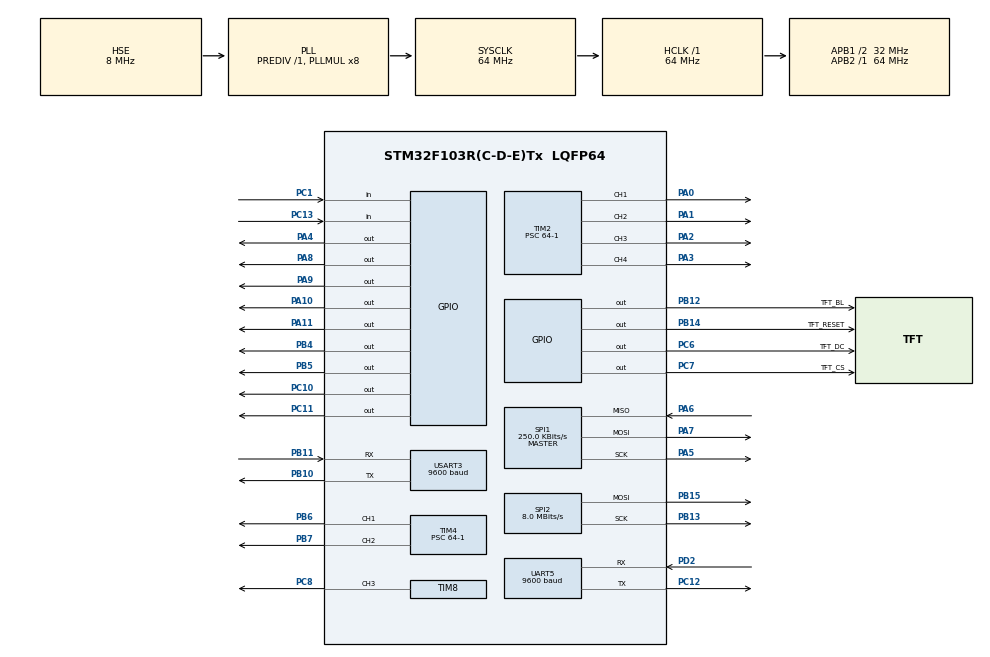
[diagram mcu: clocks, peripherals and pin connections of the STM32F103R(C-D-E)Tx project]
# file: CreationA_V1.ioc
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Dma.Request0=USART3_RX
Dma.Request1=SPI2_TX
Dma.SPI2_TX.1.Direction=DMA_MEMORY_TO_PERIPH
Dma.SPI2_TX.1.Instance=DMA1_Channel5
Dma.SPI2_TX.1.MemDataAlignment=DMA_MDATAALIGN_BYTE
Dma.SPI2_TX.1.MemInc=DMA_MINC_ENABLE
Dma.SPI2_TX.1.Mode=DMA_NORMAL
Dma.SPI2_TX.1.PeriphDataAlignment=DMA_PDATAALIGN_BYTE
Dma.SPI2_TX.1.PeriphInc=DMA_PINC_DISABLE
Dma.SPI2_TX.1.Priority=DMA_PRIORITY_LOW
Dma.USART3_RX.0.Direction=DMA_PERIPH_TO_MEMORY
Dma.USART3_RX.0.Instance=DMA1_Channel3
Dma.USART3_RX.0.MemDataAlignment=DMA_MDATAALIGN_BYTE
Dma.USART3_RX.0.MemInc=DMA_MINC_ENABLE
Dma.USART3_RX.0.Mode=DMA_NORMAL
Dma.USART3_RX.0.PeriphDataAlignment=DMA_PDATAALIGN_BYTE
Dma.USART3_RX.0.PeriphInc=DMA_PINC_DISABLE
Dma.USART3_RX.0.Priority=DMA_PRIORITY_LOW
FREERTOS.Tasks01=defaultTask,0,128,StartDefaultTask,Default,NULL,Dynamic,NULL,NULL;Image_Task,0,128,StartImageTask,Default,NULL,Dynamic,NULL,NULL;PS2_Recv_Task,0,128,StartPS2Task,Default,NULL,Dynamic,NULL,NULL;MotorServo_Task,0,128,StartMotorServoTask,Default,NULL,Dynamic,NULL,NULL
FREERTOS.configTIMER_TASK_PRIORITY=3
Mcu.Family=STM32F1
Mcu.Name=STM32F103R(C-D-E)Tx
Mcu.Package=LQFP64
NVIC.DMA1_Channel3_IRQn=true\:5\:0\:false\:false\:true\:true\:false\:true\:true
NVIC.DMA1_Channel5_IRQn=true\:5\:0\:false\:false\:true\:true\:false\:true\:true
NVIC.PriorityGroup=NVIC_PRIORITYGROUP_4
NVIC.TIM6_IRQn=true\:15\:0\:false\:false\:true\:false\:false\:true\:true
NVIC.TimeBase=TIM6_IRQn
NVIC.TimeBaseIP=TIM6
PA0-WKUP.Signal=S_TIM2_CH1_ETR
PA1.Signal=S_TIM2_CH2
PA10.Signal=GPIO_Output
PA11.GPIO_PuPd=GPIO_PULLDOWN
PA11.Signal=GPIO_Output
PA13.Mode=JTAG_4_pins
PA13.Signal=SYS_JTMS-SWDIO
PA14.Mode=JTAG_4_pins
PA14.Signal=SYS_JTCK-SWCLK
PA15.Mode=JTAG_4_pins
PA15.Signal=SYS_JTDI
PA2.Signal=S_TIM2_CH3
PA3.Signal=S_TIM2_CH4
PA4.GPIO_PuPd=GPIO_PULLUP
PA4.GPIO_Speed=GPIO_SPEED_FREQ_HIGH
PA4.PinState=GPIO_PIN_SET
PA4.Signal=GPIO_Output
PA5.Mode=Full_Duplex_Master
PA5.Signal=SPI1_SCK
PA6.Mode=Full_Duplex_Master
PA6.Signal=SPI1_MISO
PA7.Mode=Full_Duplex_Master
PA7.Signal=SPI1_MOSI
PA8.GPIO_PuPd=GPIO_PULLDOWN
PA8.Signal=GPIO_Output
PA9.GPIO_PuPd=GPIO_PULLDOWN
PA9.Signal=GPIO_Output
PB10.Mode=Asynchronous
PB10.Signal=USART3_TX
PB11.Mode=Asynchronous
PB11.Signal=USART3_RX
PB12.GPIO_Label=TFT_BL
PB12.GPIO_PuPd=GPIO_PULLUP
PB12.Signal=GPIO_Output
PB13.Mode=TX_Only_Simplex_Unidirect_Master
PB13.Signal=SPI2_SCK
PB14.GPIO_Label=TFT_RESET
PB14.GPIO_PuPd=GPIO_PULLUP
PB14.Signal=GPIO_Output
PB15.Mode=TX_Only_Simplex_Unidirect_Master
PB15.Signal=SPI2_MOSI
PB3.Mode=JTAG_4_pins
PB3.Signal=SYS_JTDO-TRACESWO
PB4.GPIO_PuPd=GPIO_PULLDOWN
PB4.Signal=GPIO_Output
PB5.GPIO_PuPd=GPIO_PULLDOWN
PB5.Signal=GPIO_Output
PB6.Signal=S_TIM4_CH1
PB7.Signal=S_TIM4_CH2
PC1.GPIO_PuPd=GPIO_PULLUP
PC1.Signal=GPIO_Input
PC10.GPIO_PuPd=GPIO_PULLDOWN
PC10.Signal=GPIO_Output
PC11.GPIO_PuPd=GPIO_PULLDOWN
PC11.Signal=GPIO_Output
PC12.Mode=Asynchronous
PC12.Signal=UART5_TX
PC13-TAMPER-RTC.Signal=GPIO_Input
PC14-OSC32_IN.Mode=LSE-External-Oscillator
PC14-OSC32_IN.Signal=RCC_OSC32_IN
PC15-OSC32_OUT.Mode=LSE-External-Oscillator
PC15-OSC32_OUT.Signal=RCC_OSC32_OUT
PC6.GPIO_Label=TFT_DC
PC6.GPIO_PuPd=GPIO_PULLDOWN
PC6.Signal=GPIO_Output
PC7.GPIO_Label=TFT_CS
PC7.GPIO_PuPd=GPIO_PULLDOWN
PC7.Signal=GPIO_Output
PC8.Signal=S_TIM8_CH3
PD0-OSC_IN.Mode=HSE-External-Oscillator
PD0-OSC_IN.Signal=RCC_OSC_IN
PD1-OSC_OUT.Mode=HSE-External-Oscillator
PD1-OSC_OUT.Signal=RCC_OSC_OUT
PD2.Mode=Asynchronous
PD2.Signal=UART5_RX
ProjectManager.HeapSize=0x200
ProjectManager.StackSize=0x400
ProjectManager.TargetToolchain=Makefile
RCC.AHBFreq_Value=64000000
RCC.APB1CLKDivider=RCC_HCLK_DIV2
RCC.APB1Freq_Value=32000000
RCC.APB1TimFreq_Value=64000000
RCC.APB2Freq_Value=64000000
RCC.APB2TimFreq_Value=64000000
RCC.HCLKFreq_Value=64000000
RCC.PLLMUL=RCC_PLL_MUL8
RCC.PLLSourceVirtual=RCC_PLLSOURCE_HSE
RCC.SYSCLKFreq_VALUE=64000000
RCC.SYSCLKSource=RCC_SYSCLKSOURCE_PLLCLK
RCC.USBFreq_Value=64000000
SH.S_TIM2_CH1_ETR.0=TIM2_CH1,PWM Generation1 CH1
SH.S_TIM2_CH2.0=TIM2_CH2,PWM Generation2 CH2
SH.S_TIM2_CH3.0=TIM2_CH3,PWM Generation3 CH3
SH.S_TIM2_CH4.0=TIM2_CH4,PWM Generation4 CH4
SH.S_TIM4_CH1.0=TIM4_CH1,PWM Generation1 CH1
SH.S_TIM4_CH2.0=TIM4_CH2,PWM Generation2 CH2
SH.S_TIM8_CH3.0=TIM8_CH3,PWM Generation3 CH3
SPI1.BaudRatePrescaler=SPI_BAUDRATEPRESCALER_256
SPI1.CLKPolarity=SPI_POLARITY_HIGH
SPI1.CRCCalculation=SPI_CRCCALCULATION_DISABLE
SPI1.CalculateBaudRate=250.0 KBits/s
SPI1.Direction=SPI_DIRECTION_2LINES
SPI1.FirstBit=SPI_FIRSTBIT_LSB
SPI1.Mode=SPI_MODE_MASTER
SPI1.VirtualType=VM_MASTER
SPI2.BaudRatePrescaler=SPI_BAUDRATEPRESCALER_4
SPI2.CLKPhase=SPI_PHASE_1EDGE
SPI2.CLKPolarity=SPI_POLARITY_LOW
SPI2.CRCCalculation=SPI_CRCCALCULATION_DISABLE
SPI2.CalculateBaudRate=8.0 MBits/s
SPI2.Direction=SPI_DIRECTION_2LINES
SPI2.Mode=SPI_MODE_MASTER
SPI2.VirtualType=VM_MASTER
TIM2.Channel-PWM\ Generation1\ CH1=TIM_CHANNEL_1
TIM2.Channel-PWM\ Generation2\ CH2=TIM_CHANNEL_2
TIM2.Channel-PWM\ Generation3\ CH3=TIM_CHANNEL_3
TIM2.Channel-PWM\ Generation4\ CH4=TIM_CHANNEL_4
TIM2.Prescaler=64-1
TIM4.Channel-PWM\ Generation1\ CH1=TIM_CHANNEL_1
TIM4.Channel-PWM\ Generation2\ CH2=TIM_CHANNEL_2
TIM4.Period=20000-1
TIM4.Prescaler=64-1
TIM5.Prescaler=64-1
TIM8.Channel-PWM\ Generation3\ CH3=TIM_CHANNEL_3
TIM8.Prescaler=64-1
UART5.BaudRate=9600
UART5.Mode=MODE_TX_RX
UART5.VirtualMode=Asynchronous
USART3.BaudRate=9600
USART3.VirtualMode=VM_ASYNC
VP_FREERTOS_VS_CMSIS_V1.Mode=CMSIS_V1
VP_SYS_VS_tim6.Mode=TIM6
VP_TIM2_VS_ClockSourceINT.Mode=Internal
VP_TIM4_VS_ClockSourceINT.Mode=Internal
VP_TIM5_VS_ClockSourceINT.Mode=Internal
VP_TIM8_VS_ClockSourceINT.Mode=Internal
board=custom

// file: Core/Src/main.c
/* USER CODE BEGIN Header */
/**
  ******************************************************************************
  * @file           : main.c
  * @brief          : Main program body
  ******************************************************************************
  * @attention
  *
  * Copyright (c) 2022 STMicroelectronics.
  * All rights reserved.
  *
  * This software is licensed under terms that can be found in the LICENSE file
  * in the root directory of this software component.
  * If no LICENSE file comes with this software, it is provided AS-IS.
  *
  ******************************************************************************
  */
/* USER CODE END Header */
#include "main.h"
#include "cmsis_os.h"
#include "dma.h"
#include "spi.h"
#include "tim.h"
#include "usart.h"
#include "gpio.h"

void SystemClock_Config(void);
void MX_FREERTOS_Init(void);

int main(void)
{

  /* MCU Configuration--------------------------------------------------------*/

  /* Reset of all peripherals, Initializes the Flash interface and the Systick. */
  HAL_Init();

  /* Configure the system clock */
  SystemClock_Config();

  /* Initialize all configured peripherals */
  MX_GPIO_Init();
  MX_DMA_Init();
  MX_TIM4_Init();
  MX_SPI1_Init();
  MX_TIM5_Init();
  MX_TIM2_Init();
  MX_TIM8_Init();
  MX_SPI2_Init();
  MX_UART5_Init();
  MX_USART3_UART_Init();

  /* Call init function for freertos objects (in freertos.c) */
  MX_FREERTOS_Init();
  /* Start scheduler */
  osKernelStart();

  /* We should never get here as control is now taken by the scheduler */
  /* Infinite loop */
  while (1)
  {

  }
}

void SystemClock_Config(void)
{
  RCC_OscInitTypeDef RCC_OscInitStruct = {0};
  RCC_ClkInitTypeDef RCC_ClkInitStruct = {0};

  /** Initializes the RCC Oscillators according to the specified parameters
  * in the RCC_OscInitTypeDef structure.
  */
  RCC_OscInitStruct.OscillatorType = RCC_OSCILLATORTYPE_HSE;
  RCC_OscInitStruct.HSEState = RCC_HSE_ON;
  RCC_OscInitStruct.HSEPredivValue = RCC_HSE_PREDIV_DIV1;
  RCC_OscInitStruct.HSIState = RCC_HSI_ON;
  RCC_OscInitStruct.PLL.PLLState = RCC_PLL_ON;
  RCC_OscInitStruct.PLL.PLLSource = RCC_PLLSOURCE_HSE;
  RCC_OscInitStruct.PLL.PLLMUL = RCC_PLL_MUL8;
  if (HAL_RCC_OscConfig(&RCC_OscInitStruct) != HAL_OK)
  {
    Error_Handler();
  }
  /** Initializes the CPU, AHB and APB buses clocks
  */
  RCC_ClkInitStruct.ClockType = RCC_CLOCKTYPE_HCLK|RCC_CLOCKTYPE_SYSCLK
                              |RCC_CLOCKTYPE_PCLK1|RCC_CLOCKTYPE_PCLK2;
  RCC_ClkInitStruct.SYSCLKSource = RCC_SYSCLKSOURCE_PLLCLK;
  RCC_ClkInitStruct.AHBCLKDivider = RCC_SYSCLK_DIV1;
  RCC_ClkInitStruct.APB1CLKDivider = RCC_HCLK_DIV2;
  RCC_ClkInitStruct.APB2CLKDivider = RCC_HCLK_DIV1;

  if (HAL_RCC_ClockConfig(&RCC_ClkInitStruct, FLASH_LATENCY_2) != HAL_OK)
  {
    Error_Handler();
  }
}

void HAL_TIM_PeriodElapsedCallback(TIM_HandleTypeDef *htim)
{
  if (htim->Instance == TIM6) {
    HAL_IncTick();
  }
}

void Error_Handler(void)
{
  __disable_irq();
  while (1)
  {
  }
}

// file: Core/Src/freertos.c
/* USER CODE BEGIN Header */
/**
  ******************************************************************************
  * File Name          : freertos.c
  * Description        : Code for freertos applications
  ******************************************************************************
  * @attention
  *
  * Copyright (c) 2022 STMicroelectronics.
  * All rights reserved.
  *
  * This software is licensed under terms that can be found in the LICENSE file
  * in the root directory of this software component.
  * If no LICENSE file comes with this software, it is provided AS-IS.
  *
  ******************************************************************************
  */
/* USER CODE END Header */

#include "FreeRTOS.h"
#include "task.h"
#include "main.h"
#include "cmsis_os.h"

/* USER CODE BEGIN Includes */
#include "tim.h"
#include "spi.h"
#include "ps2.h"
#include "motor.h"
#include "beep.h"
#include "tft.h"
#include "malloc.h"
#include "usart.h"
/* USER CODE END Includes */

/* USER CODE BEGIN PD */
#define MV_LEN 7
/* USER CODE END PD */

/* USER CODE BEGIN Variables */
uint8_t ps2_rx[9] = {0};
uint8_t mv_rx[MV_LEN] = {0};

motor* motor_lf = NULL;
motor* motor_lb = NULL;
motor* motor_rf = NULL;
motor* motor_rb = NULL;

robot_state state;
/* USER CODE END Variables */
osThreadId defaultTaskHandle;
osThreadId Image_TaskHandle;
osThreadId PS2_Recv_TaskHandle;
osThreadId MotorServo_TaskHandle;

void StartDefaultTask(void const * argument);
void StartImageTask(void const * argument);
void StartPS2Task(void const * argument);
void StartMotorServoTask(void const * argument);

void MX_FREERTOS_Init(void); /* (MISRA C 2004 rule 8.1) */

/* GetIdleTaskMemory prototype (linked to static allocation support) */
void vApplicationGetIdleTaskMemory( StaticTask_t **ppxIdleTaskTCBBuffer, StackType_t **ppxIdleTaskStackBuffer, uint32_t *pulIdleTaskStackSize );

/* USER CODE BEGIN GET_IDLE_TASK_MEMORY */
static StaticTask_t xIdleTaskTCBBuffer;
static StackType_t xIdleStack[configMINIMAL_STACK_SIZE];

void vApplicationGetIdleTaskMemory( StaticTask_t **ppxIdleTaskTCBBuffer, StackType_t **ppxIdleTaskStackBuffer, uint32_t *pulIdleTaskStackSize )
{
  *ppxIdleTaskTCBBuffer = &xIdleTaskTCBBuffer;
  *ppxIdleTaskStackBuffer = &xIdleStack[0];
  *pulIdleTaskStackSize = configMINIMAL_STACK_SIZE;
  /* place for user code */
}
/* USER CODE END GET_IDLE_TASK_MEMORY */

void MX_FREERTOS_Init(void) {

  /* Create the thread(s) */
  /* definition and creation of defaultTask */
  osThreadDef(defaultTask, StartDefaultTask, osPriorityNormal, 0, 128);
  defaultTaskHandle = osThreadCreate(osThread(defaultTask), NULL);

  /* definition and creation of Image_Task */
  osThreadDef(Image_Task, StartImageTask, osPriorityNormal, 0, 128);
  Image_TaskHandle = osThreadCreate(osThread(Image_Task), NULL);

  /* definition and creation of PS2_Recv_Task */
  osThreadDef(PS2_Recv_Task, StartPS2Task, osPriorityNormal, 0, 128);
  PS2_Recv_TaskHandle = osThreadCreate(osThread(PS2_Recv_Task), NULL);

  /* definition and creation of MotorServo_Task */
  osThreadDef(MotorServo_Task, StartMotorServoTask, osPriorityNormal, 0, 128);
  MotorServo_TaskHandle = osThreadCreate(osThread(MotorServo_Task), NULL);

}

void StartDefaultTask(void const * argument)
{
  /* USER CODE BEGIN StartDefaultTask */
  HAL_TIM_Base_Start(&htim5);   //delay_us
  HAL_TIM_PWM_Start(&htim8, TIM_CHANNEL_3);   //控制蜂鸣�????????
  TIM8->ARR = 0;
  TIM8->CCR3 = 0;
  Beep_Play(music_ready);
  state.control = INIT;
  /* Infinite loop */

  for(;;)
  {
    if(state.music) Beep_Play(music_thank);
    osDelay(1);
  }
  /* USER CODE END StartDefaultTask */
}

void StartImageTask(void const * argument)
{
  /* USER CODE BEGIN StartImageTask */
  TFT_Init();
  TFT_Fill(1, 0, 240, 320, 0);
  TFT_Test();

  TFT_DrawStr(16, 10, "CONNECTION:", RGB2565(200, 184, 248));
  TFT_DrawStr(50, 30, "VISUAL:", RGB2565(200, 184, 248));
  TFT_DrawStr(42, 50, "CONTROL:", RGB2565(200, 184, 248));
  TFT_DrawStr(42, 70, "X_SPEED:", RGB2565(200, 184, 248));
  TFT_DrawStr(42, 90, "Y_SPEED:", RGB2565(200, 184, 248));
  TFT_DrawStr(42, 110, "W_SPEED:", RGB2565(200, 184, 248));
  TFT_DrawStr(48, 130, "FRAME:", RGB2565(200, 184, 248));
  /* Infinite loop */
  for(;;)
  {
    HAL_UART_Receive_DMA(&huart3, mv_rx, MV_LEN);
    //Openmv收到的数据可能错位
    int index = -1;
    for(int i = 0; i <= MV_LEN - 1; i++)
    {
      if(mv_rx[i] == 0x03)
      {
        if(mv_rx[(i + 1) % MV_LEN] == 0x45)
        {
          index = i;
          break;
        }
      }
    }

    //判断与Openmv通信情况
    if(index != -1)
    {
      state.connect = SUCCEED;
      TFT_DrawStr(122, 10, "SUCCEED", RGB2565(0, 255, 0));

      switch (mv_rx[(index + 2) % MV_LEN])
      {
      case 'F':
        state.ballx = mv_rx[(index + 3) % MV_LEN];
        state.bally = mv_rx[(index + 4) % MV_LEN];
        state.ballpix = mv_rx[(index + 5) % MV_LEN] + (mv_rx[(index + 6) % MV_LEN] << 8);
        TFT_DrawStr(122, 30, "FIND    ", RGB2565(0, 255, 0));
        break;
      case 'N':
      case 'P':
        state.ballx = 0;
        state.bally = 0;
        state.ballpix = 0;
        TFT_DrawStr(122, 30, "NOT FIND", RGB2565(255, 30, 30));
        break;
      }
    }
    else
    {
      state.connect = FAILED;
      state.ballx = 0;
      state.bally = 0;
      state.ballpix = 0;
      TFT_DrawStr(122, 10, "FAILED ", RGB2565(255, 30, 30));
    }

    //显示运动信息
    if(state.control == REMOTE) TFT_DrawStr(122, 50, "REMOTE", RGB2565(142, 214, 232));
    else TFT_DrawStr(122, 50, "AUTO  ", RGB2565(255, 209, 53));

    TFT_DrawStr(122, 70, TFT_Itoa(state.vx), RGB2565(255, 128, 192));
    TFT_DrawStr(122, 90, TFT_Itoa(state.vy), RGB2565(255, 128, 192));
    TFT_DrawStr(122, 110, TFT_Itoa(state.rorate), RGB2565(255, 128, 192));

    if(state.frame == UP) TFT_DrawStr(122, 130, "UP  ", RGB2565(142, 214, 232));
    else TFT_DrawStr(122, 130, "DOWN", RGB2565(255, 209, 53));

    osDelay(1);
  }
  /* USER CODE END StartImageTask */
}

void StartPS2Task(void const * argument)
{
  /* USER CODE BEGIN StartPS2Task */
  /* Infinite loop */
  for(;;)
  {
    PS2_ReadData(ps2_rx);
    PS2_Solve(&state, ps2_rx);
    osDelay(1);
  }
  /* USER CODE END StartPS2Task */
}

void StartMotorServoTask(void const * argument)
{
  /* USER CODE BEGIN StartMotorServoTask */
  HAL_TIM_PWM_Start(&htim2, TIM_CHANNEL_1);
  HAL_TIM_PWM_Start(&htim2, TIM_CHANNEL_2);
  HAL_TIM_PWM_Start(&htim2, TIM_CHANNEL_3);
  HAL_TIM_PWM_Start(&htim2, TIM_CHANNEL_4);

  motor_lf = (motor*)malloc(sizeof(motor));
  motor_rf = (motor*)malloc(sizeof(motor));
  motor_rb = (motor*)malloc(sizeof(motor));
  motor_lb = (motor*)malloc(sizeof(motor));

  Motor_Init(motor_lf, &TIM2->CCR1, GPIOA, GPIO_PIN_8, GPIO_PIN_9);
  Motor_Init(motor_rf, &TIM2->CCR2, GPIOA, GPIO_PIN_11, GPIO_PIN_10);
  Motor_Init(motor_rb, &TIM2->CCR3, GPIOC, GPIO_PIN_11, GPIO_PIN_10);
  Motor_Init(motor_lb, &TIM2->CCR4, GPIOB, GPIO_PIN_5, GPIO_PIN_4);

  HAL_TIM_PWM_Start(&htim4, TIM_CHANNEL_1);
  HAL_TIM_PWM_Start(&htim4, TIM_CHANNEL_2);

  state.frame = UP;
  state.vx = 0;
  state.vy = 0;
  state.rorate = 0;
  state.direct = RIGHT;
  /* Infinite loop */
  for(;;)
  {
    Motor_Control(motor_lf, motor_rf, motor_rb, motor_lb, &state);

    if(state.frame == UP)
    {
      TIM4->CCR1 = TIM4-> ARR * 0.06;
      TIM4->CCR2 = TIM4-> ARR * 0.09;
    }
    else if(state.frame == DOWN)
    {
      TIM4->CCR1 = TIM4-> ARR * 0.03;
      TIM4->CCR2 = TIM4-> ARR * 0.12;
    }

    osDelay(1);
  }
  /* USER CODE END StartMotorServoTask */
}
